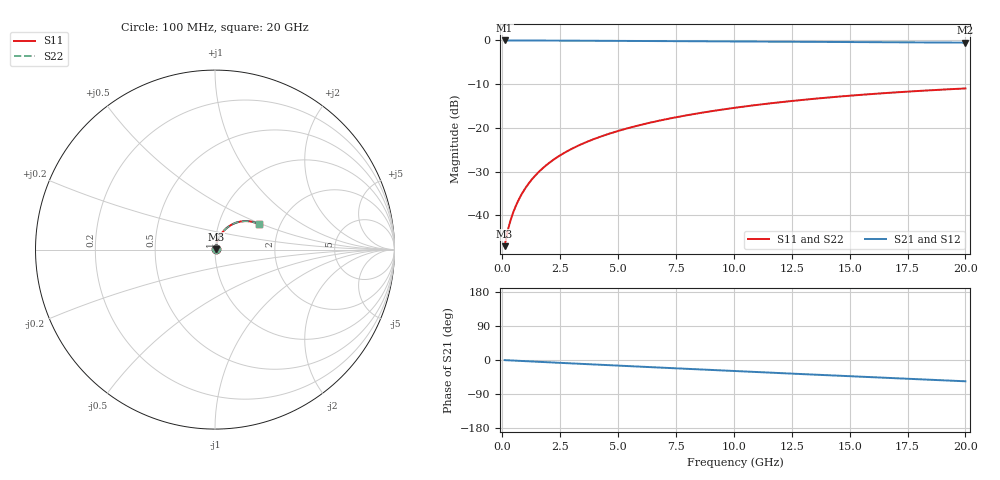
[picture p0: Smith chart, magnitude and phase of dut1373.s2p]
! Touchstone file exported from HFSS 2026.1.0
!  File:  C:/ffzhzh/LocalFiles/Ansys_Project_Files/temp_train_BSMRDL_1373_1783179394_18472.aedt
!  Generated:  11:37:52 PM Jul  4, 2026
!  Design:  BSMRDL
!  Project:  temp_train_BSMRDL_1373_1783179394_18472
! Variables:
!  h_bsmrdl = 5.59um
!  h_ox = 20um
!  h_rdl = 5um
!  h_sub = 80um
!  h_tmrdl = 5um
!  h_tsv = 80um
!  h_via = 3um
!  l_bsmrdl = 978.83um
!  l_sub = 1378.83um
!  l_tmrdl = 200um
!  m_sub = 200um
!  pitch = 29.47um
!  r_tsv = 6um
!  s_tmrdl = 10um
!  w_bsmrdl = 17.28um
!  w_sub = 500um
!  w_tmrdl = 12um
!  x_tsv_center1 = 206um
!  x_tsv_center2 = 1202.11um
!  x_tsv_center3 = 1414.11um
!  x_tsv_center4 = 2410.22um
!  x_tsv_center5 = 2622.22um
!  x_tsv_center6 = 3618.33um
# GHz S MA R 50.000000
! Terminal data exported
! Port[1] = BSM_RDL1_1_T1
! Port[2] = BSM_RDL1_1_T2
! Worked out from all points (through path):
!   200 points, 100 MHz to 20 GHz, reference 50 ohm
!   highest |S21| = -0.03 dB at 100 MHz (marker M1); lowest = -0.5 dB at 20 GHz (marker M2)
!   group delay of S21, straight-line fit = 7.78 ps
!   lowest |S11| = -47.0 dB at 100 MHz (marker M3), VSWR 1.01, Z = 50.4 + j0.236 ohm
!   |S11| at or under -10 dB: start of sweep to end of sweep
!   |S22| runs from -47.0 to -11.0 dB; largest |S21 - S12| = 1.9e-14
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0.1  0.004441 31.8  0.9962 -0.3  0.9962 -0.3  0.004441 31.8
! Gamma 0 0 0 0
! Port Impedance 50 0 50 0
0.2  0.00606 47.3  0.9959 -0.6  0.9959 -0.6  0.00606 47.3
0.3  0.007783 55.4  0.9957 -0.9  0.9957 -0.9  0.007783 55.4
0.4  0.009525 60.6  0.9955 -1.2  0.9955 -1.2  0.009525 60.6
0.5  0.0113 64.3  0.9953 -1.5  0.9953 -1.5  0.0113 64.3
0.6  0.0131 66.9  0.9952 -1.8  0.9952 -1.8  0.0131 66.9
0.8  0.01677 70.5  0.995 -2.4  0.995 -2.4  0.01677 70.5
1  0.0205 72.5  0.9947 -3.1  0.9947 -3.1  0.0205 72.5
1.2  0.02427 73.7  0.9944 -3.7  0.9944 -3.7  0.02427 73.7
1.4  0.02804 74.4  0.9941 -4.3  0.9941 -4.3  0.02804 74.4
1.7  0.03368 74.8  0.9936 -5.2  0.9936 -5.2  0.03368 74.8
2.2  0.043 74.6  0.9926 -6.6  0.9926 -6.6  0.043 74.6
2.8  0.05396 73.7  0.9912 -8.4  0.9912 -8.4  0.05396 73.7
3.5  0.06643 72.2  0.9894 -10.5  0.9894 -10.5  0.06643 72.3
4.2  0.07855 70.6  0.9875 -12.5  0.9875 -12.5  0.07855 70.6
5  0.09203 68.6  0.9853 -14.8  0.9853 -14.8  0.09203 68.6
6.8  0.1211 64.1  0.9802 -20.0  0.9802 -20.0  0.1211 64.1
8.3  0.1441 60.3  0.9758 -24.2  0.9758 -24.2  0.1441 60.3
10.1  0.1703 55.7  0.9703 -29.3  0.9703 -29.3  0.1703 55.7
13.4  0.2139 47.2  0.96 -38.4  0.96 -38.4  0.2139 47.2
16.7  0.2512 38.7  0.9498 -47.4  0.9498 -47.4  0.2512 38.7
20  0.2818 30.3  0.9404 -56.2  0.9404 -56.2  0.2818 30.3
